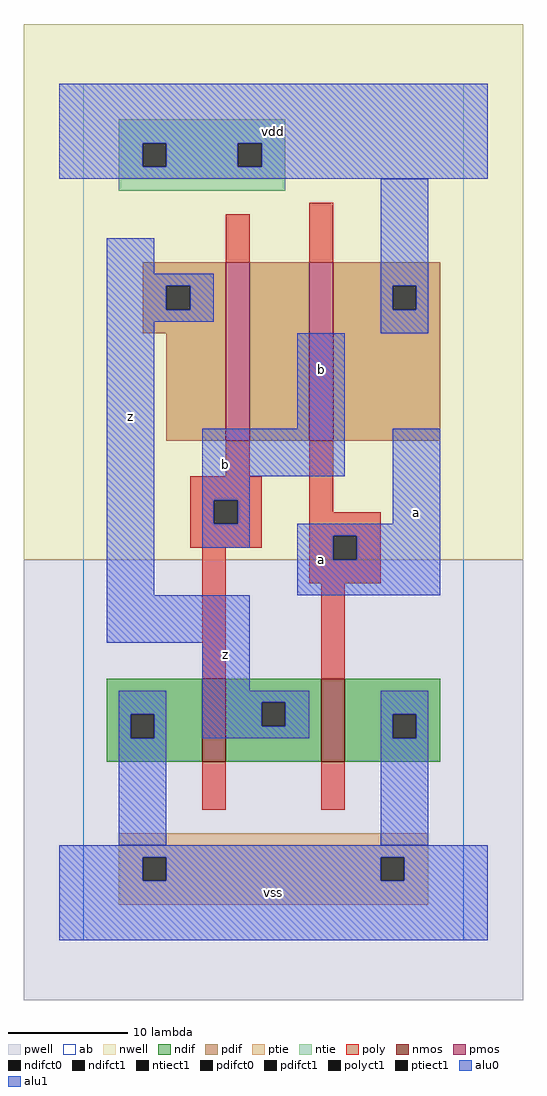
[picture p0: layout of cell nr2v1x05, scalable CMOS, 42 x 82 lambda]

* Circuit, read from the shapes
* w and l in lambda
.subckt nr2v1x05 a b vdd vss z
M1 z b vss vss nfet w=7 l=2
M2 vss a z vss nfet w=7 l=2
M3 n1 b z vdd pfet w=15 l=2
M4 vdd a n1 vdd pfet w=15 l=2
.ends

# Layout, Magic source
magic
tech scmos
<< ab >>
rect 0 0 32 72
<< nwell >>
rect -5 32 37 77
<< pwell >>
rect -5 -5 37 32
<< poly >>
rect 12 57 14 61
rect 19 57 21 62
rect 12 39 14 42
rect 9 37 15 39
rect 9 35 11 37
rect 13 35 15 37
rect 9 33 15 35
rect 19 36 21 42
rect 19 34 25 36
rect 10 22 12 33
rect 19 32 21 34
rect 23 32 25 34
rect 19 30 25 32
rect 20 22 22 30
rect 10 11 12 15
rect 20 11 22 15
<< ndif >>
rect 2 19 10 22
rect 2 17 4 19
rect 6 17 10 19
rect 2 15 10 17
rect 12 20 20 22
rect 12 18 15 20
rect 17 18 20 20
rect 12 15 20 18
rect 22 19 30 22
rect 22 17 26 19
rect 28 17 30 19
rect 22 15 30 17
<< pdif >>
rect 5 55 12 57
rect 5 53 7 55
rect 9 53 12 55
rect 5 51 12 53
rect 7 42 12 51
rect 14 42 19 57
rect 21 55 30 57
rect 21 53 26 55
rect 28 53 30 55
rect 21 42 30 53
<< alu1 >>
rect -2 67 34 72
rect -2 65 5 67
rect 7 65 13 67
rect 15 65 34 67
rect -2 64 34 65
rect 2 56 6 59
rect 2 55 11 56
rect 2 53 7 55
rect 9 53 11 55
rect 2 52 11 53
rect 2 29 6 52
rect 18 43 22 51
rect 10 39 22 43
rect 10 37 14 39
rect 10 35 11 37
rect 13 35 14 37
rect 26 35 30 43
rect 10 33 14 35
rect 18 34 30 35
rect 18 32 21 34
rect 23 32 30 34
rect 18 29 30 32
rect 2 25 14 29
rect 10 21 14 25
rect 10 20 19 21
rect 10 18 15 20
rect 17 18 19 20
rect 10 17 19 18
rect -2 7 34 8
rect -2 5 5 7
rect 7 5 25 7
rect 27 5 34 7
rect -2 0 34 5
<< ptie >>
rect 3 7 29 9
rect 3 5 5 7
rect 7 5 25 7
rect 27 5 29 7
rect 3 3 29 5
<< ntie >>
rect 3 67 17 69
rect 3 65 5 67
rect 7 65 13 67
rect 15 65 17 67
rect 3 63 17 65
<< nmos >>
rect 10 15 12 22
rect 20 15 22 22
<< pmos >>
rect 12 42 14 57
rect 19 42 21 57
<< polyct1 >>
rect 11 35 13 37
rect 21 32 23 34
<< ndifct0 >>
rect 4 17 6 19
rect 26 17 28 19
<< ndifct1 >>
rect 15 18 17 20
<< ntiect1 >>
rect 5 65 7 67
rect 13 65 15 67
<< ptiect1 >>
rect 5 5 7 7
rect 25 5 27 7
<< pdifct0 >>
rect 26 53 28 55
<< pdifct1 >>
rect 7 53 9 55
<< alu0 >>
rect 25 55 29 64
rect 25 53 26 55
rect 28 53 29 55
rect 25 51 29 53
rect 3 19 7 21
rect 3 17 4 19
rect 6 17 7 19
rect 25 19 29 21
rect 25 17 26 19
rect 28 17 29 19
rect 3 8 7 17
rect 25 8 29 17
<< labels >>
rlabel alu1 4 44 4 44 6 z
rlabel alu1 12 24 12 24 6 z
rlabel alu1 12 40 12 40 6 b
rlabel alu1 16 4 16 4 6 vss
rlabel alu1 20 32 20 32 6 a
rlabel alu1 20 48 20 48 6 b
rlabel alu1 16 68 16 68 6 vdd
rlabel alu1 28 36 28 36 6 a
<< end >>
